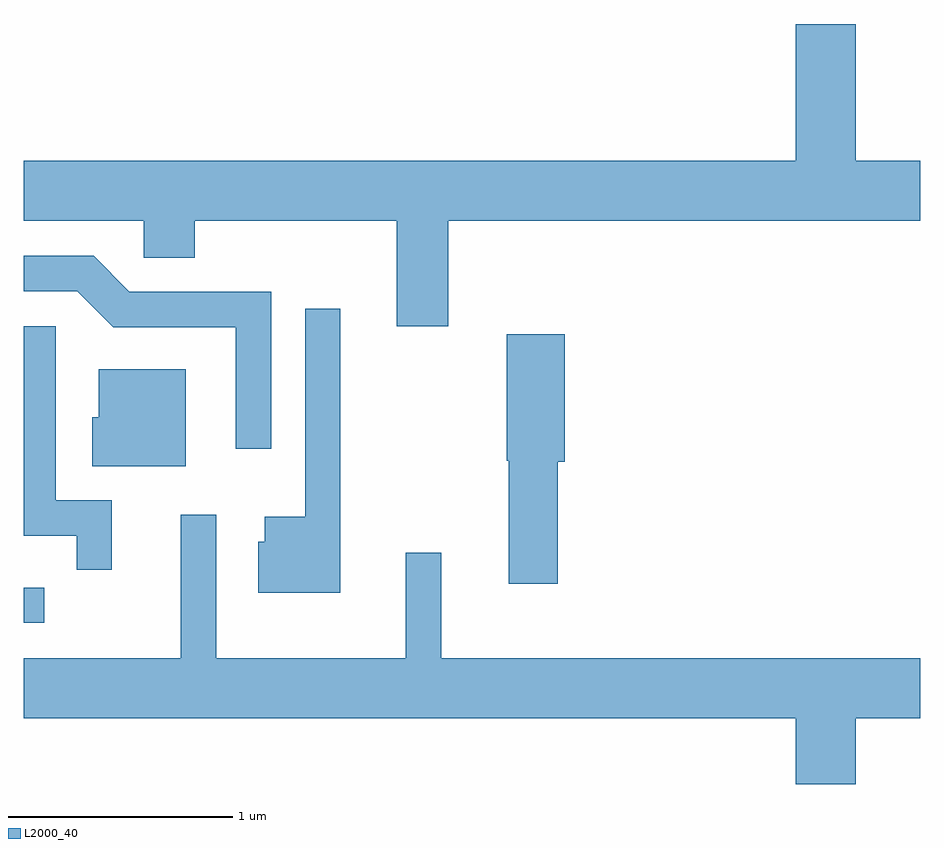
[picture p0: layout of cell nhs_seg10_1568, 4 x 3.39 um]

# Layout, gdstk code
import gdstk
lib = gdstk.Library(unit=1e-6, precision=1e-09)
def R(c, l, rs):  # rectangles x0, y0, x1, y1
    for r in rs: c.add(gdstk.rectangle(r[:2], r[2:], *l))
def P(c, l, *ps):  # polygons
    for p in ps: c.add(gdstk.Polygon(p, *l))
L2000_40 = (2000, 40)

nhs_seg10_1568 = lib.new_cell('nhs_seg10_1568')
R(nhs_seg10_1568, L2000_40, [(231.611,2103.241,231.703,2103.399)])
P(nhs_seg10_1568, L2000_40, [(233.504,2105.036),(235.611,2105.036),(235.611,2105.304),(235.324,2105.304),(235.324,2105.914),(235.056,2105.914),(235.056,2105.304),(231.611,2105.304),(231.611,2105.036),(232.146,2105.036),(232.146,2104.871),(232.374,2104.871),(232.374,2105.036),(233.276,2105.036),(233.276,2104.566),(233.504,2104.566)],
  [(232.714,2104.719),(232.082,2104.719),(231.922,2104.879),(231.611,2104.879),(231.611,2104.721),(231.849,2104.721),(232.009,2104.561),(232.556,2104.561),(232.556,2104.018),(232.714,2104.018)],
  [(233.024,2104.643),(232.866,2104.643),(232.866,2103.714),(232.686,2103.714),(232.686,2103.604),(232.656,2103.604),(232.656,2103.376),(233.024,2103.376)],
  [(232.004,2103.789),(231.754,2103.789),(231.754,2104.564),(231.611,2104.564),(231.611,2103.631),(231.846,2103.631),(231.846,2103.478),(232.004,2103.478)],
  [(233.994,2103.961),(234.024,2103.961),(234.024,2104.529),(233.766,2104.529),(233.766,2103.965),(233.776,2103.965),(233.776,2103.416),(233.994,2103.416)],
  [(232.334,2104.374),(231.946,2104.374),(231.946,2104.159),(231.916,2104.159),(231.916,2103.941),(232.334,2103.941)],
  [(235.324,2102.816),(235.611,2102.816),(235.611,2103.084),(233.474,2103.084),(233.474,2103.553),(233.316,2103.553),(233.316,2103.084),(232.469,2103.084),(232.469,2103.723),(232.311,2103.723),(232.311,2103.084),(231.611,2103.084),(231.611,2102.816),(235.056,2102.816),(235.056,2102.522),(235.324,2102.522)])

lib.write_gds('nhs_seg10_1568.gds')
